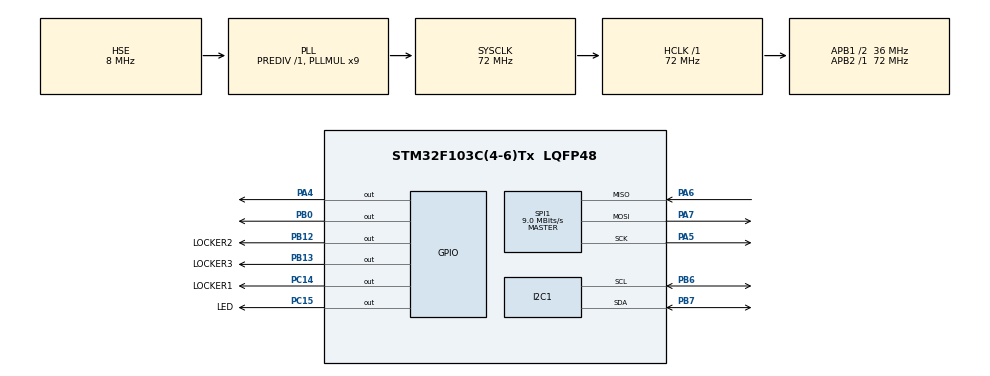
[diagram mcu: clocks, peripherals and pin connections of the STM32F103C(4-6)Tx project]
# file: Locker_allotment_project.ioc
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I2C1.I2C_Mode=I2C_Fast
Mcu.Family=STM32F1
Mcu.Name=STM32F103C(4-6)Tx
Mcu.Package=LQFP48
NVIC.PriorityGroup=NVIC_PRIORITYGROUP_4
PA13.Mode=Serial_Wire
PA13.Signal=SYS_JTMS-SWDIO
PA14.Mode=Serial_Wire
PA14.Signal=SYS_JTCK-SWCLK
PA4.Signal=GPIO_Output
PA5.Mode=Full_Duplex_Master
PA5.Signal=SPI1_SCK
PA6.Mode=Full_Duplex_Master
PA6.Signal=SPI1_MISO
PA7.Mode=Full_Duplex_Master
PA7.Signal=SPI1_MOSI
PB0.Signal=GPIO_Output
PB12.GPIO_Label=LOCKER2
PB12.Signal=GPIO_Output
PB13.GPIO_Label=LOCKER3
PB13.Signal=GPIO_Output
PB6.Mode=I2C
PB6.Signal=I2C1_SCL
PB7.Mode=I2C
PB7.Signal=I2C1_SDA
PC14-OSC32_IN.GPIO_Label=LOCKER1
PC14-OSC32_IN.Signal=GPIO_Output
PC15-OSC32_OUT.GPIO_Label=LED
PC15-OSC32_OUT.Signal=GPIO_Output
PD0-OSC_IN.Mode=HSE-External-Oscillator
PD0-OSC_IN.Signal=RCC_OSC_IN
PD1-OSC_OUT.Mode=HSE-External-Oscillator
PD1-OSC_OUT.Signal=RCC_OSC_OUT
ProjectManager.HeapSize=0x200
ProjectManager.StackSize=0x400
ProjectManager.TargetToolchain=STM32CubeIDE
RCC.AHBFreq_Value=72000000
RCC.APB1CLKDivider=RCC_HCLK_DIV2
RCC.APB1Freq_Value=36000000
RCC.APB1TimFreq_Value=72000000
RCC.APB2Freq_Value=72000000
RCC.APB2TimFreq_Value=72000000
RCC.HCLKFreq_Value=72000000
RCC.PLLMUL=RCC_PLL_MUL9
RCC.PLLSourceVirtual=RCC_PLLSOURCE_HSE
RCC.SYSCLKFreq_VALUE=72000000
RCC.SYSCLKSource=RCC_SYSCLKSOURCE_PLLCLK
RCC.USBFreq_Value=72000000
SPI1.BaudRatePrescaler=SPI_BAUDRATEPRESCALER_8
SPI1.CalculateBaudRate=9.0 MBits/s
SPI1.Direction=SPI_DIRECTION_2LINES
SPI1.Mode=SPI_MODE_MASTER
SPI1.VirtualType=VM_MASTER
board=custom

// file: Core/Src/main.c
/* USER CODE BEGIN Header */
/**
  ******************************************************************************
  * @file           : main.c
  * @brief          : Main program body
  ******************************************************************************
  * @attention
  *
  * Copyright (c) 2024 STMicroelectronics.
  * All rights reserved.
  *
  * This software is licensed under terms that can be found in the LICENSE file
  * in the root directory of this software component.
  * If no LICENSE file comes with this software, it is provided AS-IS.
  *
  ******************************************************************************
  */
/* USER CODE END Header */
#include "main.h"

/* USER CODE BEGIN Includes */
#include "rc522.h"
#include "string.h"

#include "ssd1306.h"
#include "fonts.h"
#include "stdio.h"
#include "bitmap.h"

/* USER CODE END Includes */

/* USER CODE BEGIN PD */

// Predefined card IDs (in hexadecimal format)
//#define CARD_USER1 "\x83\x31\x84\xE4\xD2"  // Card 1 (Access Allowed)
//#define CARD_USER2 "\x93\x20\x68\xA3\x7C"  // Card 2 (Access Allowed)

/* USER CODE END PD */

I2C_HandleTypeDef hi2c1;

SPI_HandleTypeDef hspi1;

/* USER CODE BEGIN PV */
uint8_t status;
uint8_t str[MAX_LEN]; // Max_LEN = 16
uint8_t sNum[5];
/* USER CODE END PV */

void SystemClock_Config(void);
static void MX_GPIO_Init(void);
static void MX_I2C1_Init(void);
static void MX_SPI1_Init(void);
/* USER CODE BEGIN PFP */
void reset_lockers(void);
/* USER CODE END PFP */
void reset_lockers()
{
	HAL_GPIO_WritePin(LOCKER1_GPIO_Port, LOCKER1_Pin, GPIO_PIN_RESET);
	HAL_Delay(1000);
	HAL_GPIO_WritePin(LOCKER2_GPIO_Port, LOCKER2_Pin, GPIO_PIN_SET);
	HAL_Delay(1000);
	HAL_GPIO_WritePin(LOCKER3_GPIO_Port, LOCKER3_Pin, GPIO_PIN_SET);
	HAL_Delay(1000);
}

int main(void)
{

  /* MCU Configuration--------------------------------------------------------*/

  /* Reset of all peripherals, Initializes the Flash interface and the Systick. */
		HAL_Init();

  /* Configure the system clock */
  SystemClock_Config();

  /* Initialize all configured peripherals */
  MX_GPIO_Init();
  MX_I2C1_Init();
  MX_SPI1_Init();
  /* USER CODE BEGIN 2 */
  	reset_lockers();

  	MFRC522_Init();

	SSD1306_Init (); // initialise the display
	SSD1306_GotoXY (10,10); // goto 10, 10
	SSD1306_Puts ("HELLO", &Font_11x18, 1); // print Hello
	SSD1306_GotoXY (10, 28);
	SSD1306_Puts ("Locker", &Font_11x18, 1);
	SSD1306_GotoXY (10, 45);
	SSD1306_Puts ("Allotment", &Font_11x18, 1);
    SSD1306_UpdateScreen(); // update screen
    HAL_Delay(2000);

    SSD1306_Clear();
    SSD1306_UpdateScreen(); // update screen

//  int num = 123456; float flt = 123.45;
//  char bufnum[7]; char bufflt[7];
//  SSD1306_Init (); // initialise the display
//  sprintf (bufnum, "%d", num);
//  sprintf (bufflt, "%.2f", flt);
//  SSD1306_GotoXY (10,10); // goto 10, 10
//  SSD1306_Puts (bufnum, &Font_11x18, 1); // print Hello
//  SSD1306_GotoXY (10, 30);
//  SSD1306_Puts (bufflt, &Font_11x18, 1);
//  SSD1306_UpdateScreen(); // update screen

//  SSD1306_Init();
//  SSD1306_DrawBitmap(0, 0, logo, 128, 64, 1);
//  SSD1306_UpdateScreen(); // update screen

  /* USER CODE END 2 */

  /* Infinite loop */
  while (1)
  {

    /* USER CODE BEGIN 3 */
 	  status = MFRC522_Request(PICC_REQIDL, str);
	  status = MFRC522_Anticoll(str);
	  memcpy(sNum, str, 5);
	  HAL_Delay(100);
	  HAL_Delay(100);
	  	SSD1306_GotoXY (10, 10);
		SSD1306_Puts ("Scan", &Font_11x18, 1);
		SSD1306_GotoXY (10, 28);
		SSD1306_Puts ("Your", &Font_11x18, 1);
		SSD1306_GotoXY (10, 45);
		SSD1306_Puts ("Card", &Font_11x18, 1);
		SSD1306_UpdateScreen(); // update screen

	 if(strcmp(sNum, "\x83\x31\x84\xE4\xD2") == 0)
	 {
		 HAL_GPIO_WritePin(LED_GPIO_Port, LED_Pin, GPIO_PIN_RESET);

		 SSD1306_GotoXY (10, 10);
		 SSD1306_Puts (" User 1 ", &Font_11x18, 1);
		 SSD1306_GotoXY (10, 28);
		 SSD1306_Puts (" Access", &Font_11x18, 1);
		 SSD1306_GotoXY (10, 45);
		 SSD1306_Puts (" Alloted", &Font_11x18, 1);
		 SSD1306_UpdateScreen(); // update screen
		 HAL_Delay(100);

		 HAL_GPIO_WritePin(LOCKER1_GPIO_Port, LOCKER1_Pin, GPIO_PIN_SET);
		 HAL_Delay(2000);
		 HAL_GPIO_WritePin(LOCKER1_GPIO_Port, LOCKER1_Pin, GPIO_PIN_RESET);
		 HAL_Delay(1000);
		 memset(sNum, 0, sizeof(sNum));
		 memset(str, 0, sizeof(str));

		 SSD1306_Clear();
		 SSD1306_UpdateScreen(); // update screen
		 HAL_Delay(100);
		 HAL_GPIO_WritePin(LED_GPIO_Port, LED_Pin, GPIO_PIN_SET);
	 }
	 else if(strcmp(sNum, "\x93\x20\x68\xA3\x7C") == 0)
	 {
		 HAL_GPIO_WritePin(LED_GPIO_Port, LED_Pin, GPIO_PIN_RESET);
		 SSD1306_GotoXY (10, 10);
		 SSD1306_Puts (" User 2 ", &Font_11x18, 1);
		 SSD1306_GotoXY (10, 28);
		 SSD1306_Puts (" Access", &Font_11x18, 1);
		 SSD1306_GotoXY (10, 45);
		 SSD1306_Puts (" Alloted", &Font_11x18, 1);
		 SSD1306_UpdateScreen(); // update screen
		 HAL_Delay(100);

		 HAL_GPIO_WritePin(LOCKER2_GPIO_Port, LOCKER2_Pin, GPIO_PIN_RESET);
		 HAL_Delay(2000);
		 HAL_GPIO_WritePin(LOCKER2_GPIO_Port, LOCKER2_Pin, GPIO_PIN_SET);
		 HAL_Delay(1000);
		 memset(sNum, 0, sizeof(sNum));
		 memset(str, 0, sizeof(str));

		 SSD1306_Clear();
		 SSD1306_UpdateScreen(); // update screen
		 HAL_Delay(100);
		 HAL_GPIO_WritePin(LED_GPIO_Port, LED_Pin, GPIO_PIN_SET);
	 }
	 else if(strcmp(sNum, "\x2D\x5F\x92\x00\xE0") == 0)
	 {
		 HAL_GPIO_WritePin(LED_GPIO_Port, LED_Pin, GPIO_PIN_RESET);
		 SSD1306_GotoXY (10, 10);
		 SSD1306_Puts (" User 3 ", &Font_11x18, 1);
		 SSD1306_GotoXY (10, 28);
		 SSD1306_Puts (" Access", &Font_11x18, 1);
		 SSD1306_GotoXY (10, 45);
		 SSD1306_Puts (" Alloted", &Font_11x18, 1);
		 SSD1306_UpdateScreen(); // update screen
		 HAL_Delay(100);

		 HAL_GPIO_WritePin(LOCKER3_GPIO_Port, LOCKER3_Pin, GPIO_PIN_RESET);
		 HAL_Delay(2000);
		 HAL_GPIO_WritePin(LOCKER3_GPIO_Port, LOCKER3_Pin, GPIO_PIN_SET);
		 HAL_Delay(1000);
		 memset(sNum, 0, sizeof(sNum));
		 memset(str, 0, sizeof(str));

		 SSD1306_Clear();
		 SSD1306_UpdateScreen(); // update screen
		 HAL_Delay(100);
		 HAL_GPIO_WritePin(LED_GPIO_Port, LED_Pin, GPIO_PIN_SET);
	 }
	 else if((sNum[0] != 0) && (sNum[1] != 0) && (sNum[2] != 0) && (sNum[3] != 0) && (sNum[4] != 0))
	 {
		 if((strcmp(sNum, "\x93\x20\x68\xA3\x7C") == 0) || (strcmp(sNum, "\x83\x31\x84\xE4\xD2") == 0))
		 {
			 SSD1306_GotoXY (10, 10);
			 SSD1306_Puts ("        ", &Font_11x18, 1);
			 SSD1306_GotoXY (10, 28);
			 SSD1306_Puts (" Access", &Font_11x18, 1);
			 SSD1306_GotoXY (10, 45);
			 SSD1306_Puts (" Denied ", &Font_11x18, 1);
			 SSD1306_UpdateScreen(); // update screen
			 HAL_Delay(1000);
			 memset(sNum, 0, sizeof(sNum));
			 memset(str, 0, sizeof(str));

		 }
	 }
	 else
	 {
		 HAL_GPIO_WritePin(LED_GPIO_Port, LED_Pin, GPIO_PIN_SET);
		 memset(sNum, 0, sizeof(sNum));
		 memset(str, 0, sizeof(str));
	 }
  }
  /* USER CODE END 3 */
}

void SystemClock_Config(void)
{
  RCC_OscInitTypeDef RCC_OscInitStruct = {0};
  RCC_ClkInitTypeDef RCC_ClkInitStruct = {0};

  /** Initializes the RCC Oscillators according to the specified parameters
  * in the RCC_OscInitTypeDef structure.
  */
  RCC_OscInitStruct.OscillatorType = RCC_OSCILLATORTYPE_HSE;
  RCC_OscInitStruct.HSEState = RCC_HSE_ON;
  RCC_OscInitStruct.HSEPredivValue = RCC_HSE_PREDIV_DIV1;
  RCC_OscInitStruct.HSIState = RCC_HSI_ON;
  RCC_OscInitStruct.PLL.PLLState = RCC_PLL_ON;
  RCC_OscInitStruct.PLL.PLLSource = RCC_PLLSOURCE_HSE;
  RCC_OscInitStruct.PLL.PLLMUL = RCC_PLL_MUL9;
  if (HAL_RCC_OscConfig(&RCC_OscInitStruct) != HAL_OK)
  {
    Error_Handler();
  }

  /** Initializes the CPU, AHB and APB buses clocks
  */
  RCC_ClkInitStruct.ClockType = RCC_CLOCKTYPE_HCLK|RCC_CLOCKTYPE_SYSCLK
                              |RCC_CLOCKTYPE_PCLK1|RCC_CLOCKTYPE_PCLK2;
  RCC_ClkInitStruct.SYSCLKSource = RCC_SYSCLKSOURCE_PLLCLK;
  RCC_ClkInitStruct.AHBCLKDivider = RCC_SYSCLK_DIV1;
  RCC_ClkInitStruct.APB1CLKDivider = RCC_HCLK_DIV2;
  RCC_ClkInitStruct.APB2CLKDivider = RCC_HCLK_DIV1;

  if (HAL_RCC_ClockConfig(&RCC_ClkInitStruct, FLASH_LATENCY_2) != HAL_OK)
  {
    Error_Handler();
  }
}

static void MX_I2C1_Init(void)
{

  hi2c1.Instance = I2C1;
  hi2c1.Init.ClockSpeed = 400000;
  hi2c1.Init.DutyCycle = I2C_DUTYCYCLE_2;
  hi2c1.Init.OwnAddress1 = 0;
  hi2c1.Init.AddressingMode = I2C_ADDRESSINGMODE_7BIT;
  hi2c1.Init.DualAddressMode = I2C_DUALADDRESS_DISABLE;
  hi2c1.Init.OwnAddress2 = 0;
  hi2c1.Init.GeneralCallMode = I2C_GENERALCALL_DISABLE;
  hi2c1.Init.NoStretchMode = I2C_NOSTRETCH_DISABLE;
  if (HAL_I2C_Init(&hi2c1) != HAL_OK)
  {
    Error_Handler();
  }

}

static void MX_SPI1_Init(void)
{

  /* SPI1 parameter configuration*/
  hspi1.Instance = SPI1;
  hspi1.Init.Mode = SPI_MODE_MASTER;
  hspi1.Init.Direction = SPI_DIRECTION_2LINES;
  hspi1.Init.DataSize = SPI_DATASIZE_8BIT;
  hspi1.Init.CLKPolarity = SPI_POLARITY_LOW;
  hspi1.Init.CLKPhase = SPI_PHASE_1EDGE;
  hspi1.Init.NSS = SPI_NSS_SOFT;
  hspi1.Init.BaudRatePrescaler = SPI_BAUDRATEPRESCALER_8;
  hspi1.Init.FirstBit = SPI_FIRSTBIT_MSB;
  hspi1.Init.TIMode = SPI_TIMODE_DISABLE;
  hspi1.Init.CRCCalculation = SPI_CRCCALCULATION_DISABLE;
  hspi1.Init.CRCPolynomial = 10;
  if (HAL_SPI_Init(&hspi1) != HAL_OK)
  {
    Error_Handler();
  }

}

static void MX_GPIO_Init(void)
{
  GPIO_InitTypeDef GPIO_InitStruct = {0};

  /* GPIO Ports Clock Enable */
  __HAL_RCC_GPIOC_CLK_ENABLE();
  __HAL_RCC_GPIOD_CLK_ENABLE();
  __HAL_RCC_GPIOA_CLK_ENABLE();
  __HAL_RCC_GPIOB_CLK_ENABLE();

  /*Configure GPIO pin Output Level */
  HAL_GPIO_WritePin(GPIOC, LOCKER1_Pin|LED_Pin, GPIO_PIN_RESET);

  /*Configure GPIO pin Output Level */
  HAL_GPIO_WritePin(GPIOA, GPIO_PIN_4, GPIO_PIN_RESET);

  /*Configure GPIO pin Output Level */
  HAL_GPIO_WritePin(GPIOB, GPIO_PIN_0|LOCKER2_Pin|LOCKER3_Pin, GPIO_PIN_RESET);

  /*Configure GPIO pins : LOCKER1_Pin LED_Pin */
  GPIO_InitStruct.Pin = LOCKER1_Pin|LED_Pin;
  GPIO_InitStruct.Mode = GPIO_MODE_OUTPUT_PP;
  GPIO_InitStruct.Pull = GPIO_NOPULL;
  GPIO_InitStruct.Speed = GPIO_SPEED_FREQ_LOW;
  HAL_GPIO_Init(GPIOC, &GPIO_InitStruct);

  /*Configure GPIO pin : PA4 */
  GPIO_InitStruct.Pin = GPIO_PIN_4;
  GPIO_InitStruct.Mode = GPIO_MODE_OUTPUT_PP;
  GPIO_InitStruct.Pull = GPIO_NOPULL;
  GPIO_InitStruct.Speed = GPIO_SPEED_FREQ_LOW;
  HAL_GPIO_Init(GPIOA, &GPIO_InitStruct);

  /*Configure GPIO pins : PB0 LOCKER2_Pin LOCKER3_Pin */
  GPIO_InitStruct.Pin = GPIO_PIN_0|LOCKER2_Pin|LOCKER3_Pin;
  GPIO_InitStruct.Mode = GPIO_MODE_OUTPUT_PP;
  GPIO_InitStruct.Pull = GPIO_NOPULL;
  GPIO_InitStruct.Speed = GPIO_SPEED_FREQ_LOW;
  HAL_GPIO_Init(GPIOB, &GPIO_InitStruct);

}

void Error_Handler(void)
{
  __disable_irq();
  while (1)
  {
  }
}
